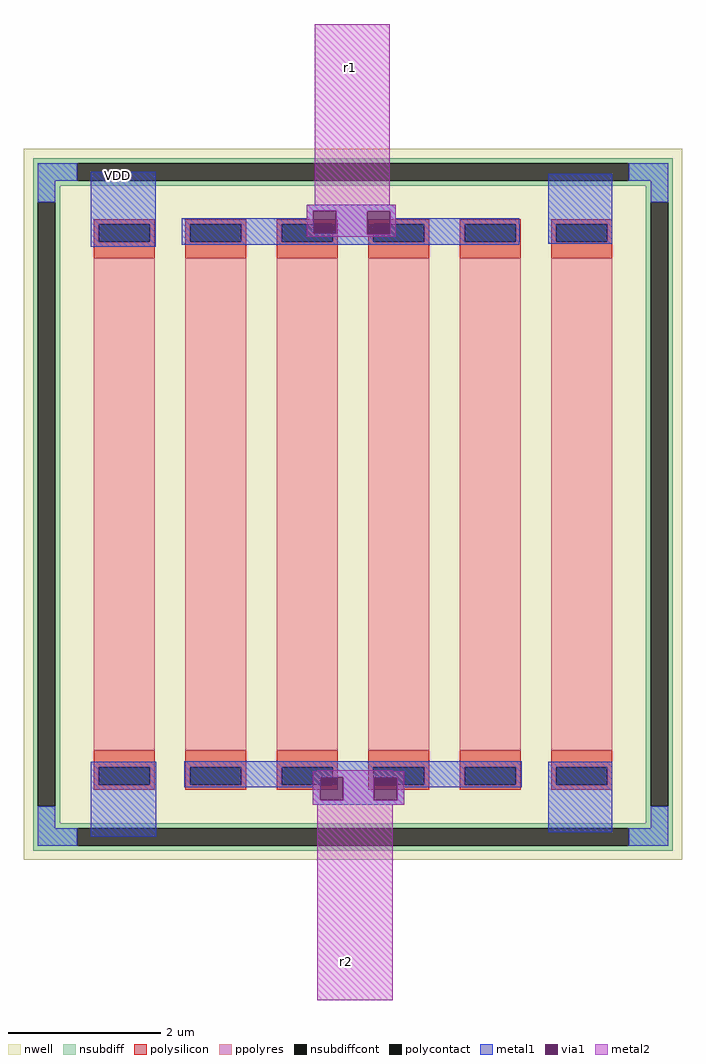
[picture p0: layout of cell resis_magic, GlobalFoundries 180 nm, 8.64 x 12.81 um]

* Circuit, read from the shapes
.subckt resis_magic r1 r2 VDD
XR1 VDD VDD VSUBS ppolyf_u r_width=0.8u r_length=6.46u m=2
XR2 r1 r2 VSUBS ppolyf_u r_width=0.8u r_length=6.46u m=4
.ends

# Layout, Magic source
magic
tech gf180mcuC
magscale 1 10
<< metal1 >>
rect 659 1268 830 1465
rect 1227 1363 1460 1379
rect 1227 1343 1243 1363
rect 899 1302 1243 1343
rect 1304 1362 1460 1363
rect 1304 1302 1385 1362
rect 899 1301 1385 1302
rect 1446 1343 1460 1362
rect 1446 1301 1785 1343
rect 899 1274 1785 1301
rect 1860 1276 2029 1460
rect 660 -280 831 -83
rect 905 -124 1791 -82
rect 905 -151 1262 -124
rect 1242 -185 1262 -151
rect 1323 -185 1403 -124
rect 1464 -151 1791 -124
rect 1464 -185 1482 -151
rect 1242 -197 1482 -185
rect 1860 -268 2029 -84
<< via1 >>
rect 1243 1302 1304 1363
rect 1385 1301 1446 1362
rect 1262 -185 1323 -124
rect 1403 -185 1464 -124
<< metal2 >>
rect 1247 1379 1445 1853
rect 1227 1363 1460 1379
rect 1227 1302 1243 1363
rect 1304 1362 1460 1363
rect 1304 1302 1385 1362
rect 1227 1301 1385 1302
rect 1446 1301 1460 1362
rect 1227 1294 1460 1301
rect 1254 -108 1452 -106
rect 1242 -124 1482 -108
rect 1242 -185 1262 -124
rect 1323 -185 1403 -124
rect 1464 -185 1482 -124
rect 1242 -197 1482 -185
rect 1254 -709 1452 -197
use ppolyf_u_WRMTN3  ppolyf_u_WRMTN3_0
transform 1 0 1348 0 1 592
box -864 -933 864 933
<< labels >>
flabel metal2 1331 -609 1331 -609 0 FreeSans 640 0 0 0 r2
port 2 nsew
flabel metal1 731 1455 731 1455 0 FreeSans 640 0 0 0 VDD
port 4 nsew
flabel metal2 1342 1740 1342 1740 0 FreeSans 640 0 0 0 r1
port 0 nsew
<< end >>

# cell ppolyf_u_WRMTN3: kit device ppolyf_u, w 0.8 l 6.459 m 1 nx 6 wmin 0.80 lmin 1.00 rho 315 val 2.787k dummy 0 dw 0.07 term 0.0 sterm 0.0 caplen 0.4 snake 0 glc 1 grc 1 gtc 1 gbc 1 roverlap 0 endcov 100 full_metal 1
